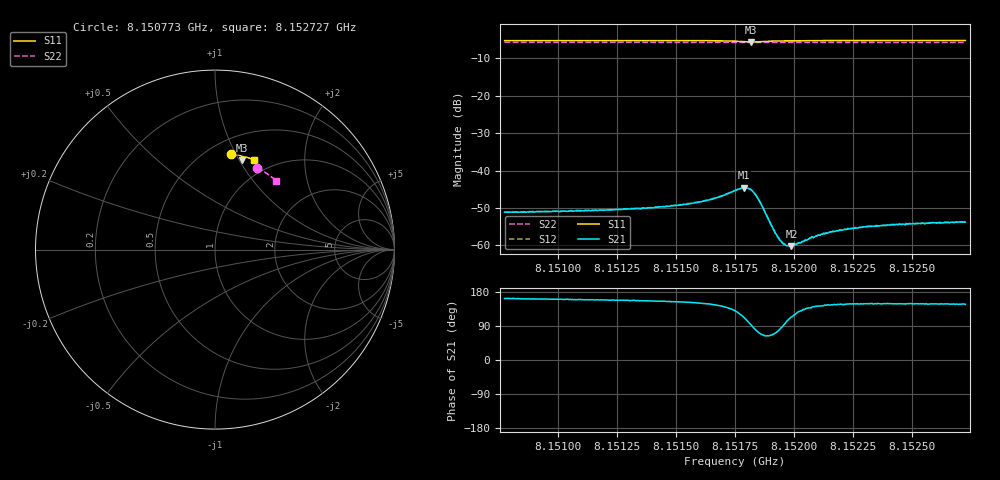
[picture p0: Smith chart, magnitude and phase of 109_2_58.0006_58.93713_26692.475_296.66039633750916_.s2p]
#  HZ  S  RI  R  50.00
! Rohde & Schwarz Vector Network Analyzer
! Rohde-Schwarz,ZNB20-2Port,1311601062101988,3.16
! Created: UTC 3/21/2024, 12:55:08 AM
! freq[Hz]  re:S11  im:S11  re:S21  im:S21  re:S12  im:S12  re:S22  im:S22
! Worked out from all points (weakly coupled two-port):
!   401 points, 8.150773 GHz to 8.152727 GHz, reference 50 ohm
!   highest |S21| = -44.61 dB at 8.151789 GHz (marker M1); lowest = -60.2 dB at 8.151989 GHz (marker M2)
!   lowest |S11| = -5.7 dB at 8.151818 GHz (marker M3), VSWR 3.17, Z = 37.7 + j51.4 ohm
!   |S11| at or under -10 dB: nowhere
!   |S22| runs from -5.8 to -5.8 dB; largest |S21 - S12| = 0.00013
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8.1507732e9  0.0872 0.5354  -0.00265 0.000846  -0.00265 0.000884  0.2363 0.4572
8.1511004e9  0.1104 0.5314  -0.00272 0.00104  -0.00273 0.00103  0.2548 0.4469
8.1514276e9  0.1342 0.526  -0.00295 0.00138  -0.00297 0.00144  0.2726 0.4355
8.1516034e9  0.1484 0.5212  -0.00332 0.00193  -0.00331 0.00198  0.2821 0.4291
8.1516865e9  0.1562 0.5166  -0.0036 0.0027  -0.00357 0.00276  0.2864 0.4259
8.1517499e9  0.1611 0.5083  -0.00345 0.00413  -0.00342 0.00422  0.2899 0.4234
8.151789e9  0.1592 0.5001  -0.00218 0.00546  -0.00213 0.00553  0.2915 0.4216
8.1518037e9  0.1558 0.4979  -0.00126 0.00569  -0.00116 0.00575  0.2919 0.4212
8.1518183e9  0.1516 0.4974  -0.000216 0.00551  -0.000123 0.00554  0.2928 0.4206
8.151833e9  0.1479 0.4992  0.00066 0.00489  0.000755 0.00489  0.2934 0.4202
8.1518525e9  0.1452 0.5039  0.00126 0.00376  0.00135 0.00377  0.2942 0.4197
8.151916e9  0.1505 0.5144  0.000552 0.00147  0.000564 0.00151  0.2978 0.4177
8.1519404e9  0.1537 0.5158  0.000176 0.00117  0.000172 0.00115  0.299 0.4169
8.1519648e9  0.1567 0.5166  -0.000145 0.000992  -0.000113 0.00101  0.3003 0.4161
8.1519892e9  0.1595 0.5167  -0.000395 0.000895  -0.000411 0.000911  0.3016 0.4149
8.1520185e9  0.1625 0.5166  -0.000657 0.000868  -0.000638 0.000859  0.3033 0.4139
8.1520771e9  0.168 0.516  -0.001 0.00085  -0.000979 0.000842  0.3062 0.4116
8.1521211e9  0.1717 0.5153  -0.00113 0.000844  -0.00111 0.000866  0.3085 0.4098
8.1522041e9  0.1783 0.5136  -0.00133 0.000882  -0.00135 0.000908  0.3128 0.4065
8.1523115e9  0.1862 0.5112  -0.00153 0.000923  -0.00152 0.000979  0.3182 0.4021
8.1524043e9  0.1929 0.5091  -0.00159 0.000975  -0.00163 0.000994  0.3226 0.3983
8.1527266e9  0.2146 0.501  -0.00171 0.00112  -0.00173 0.00116  0.3381 0.3845
